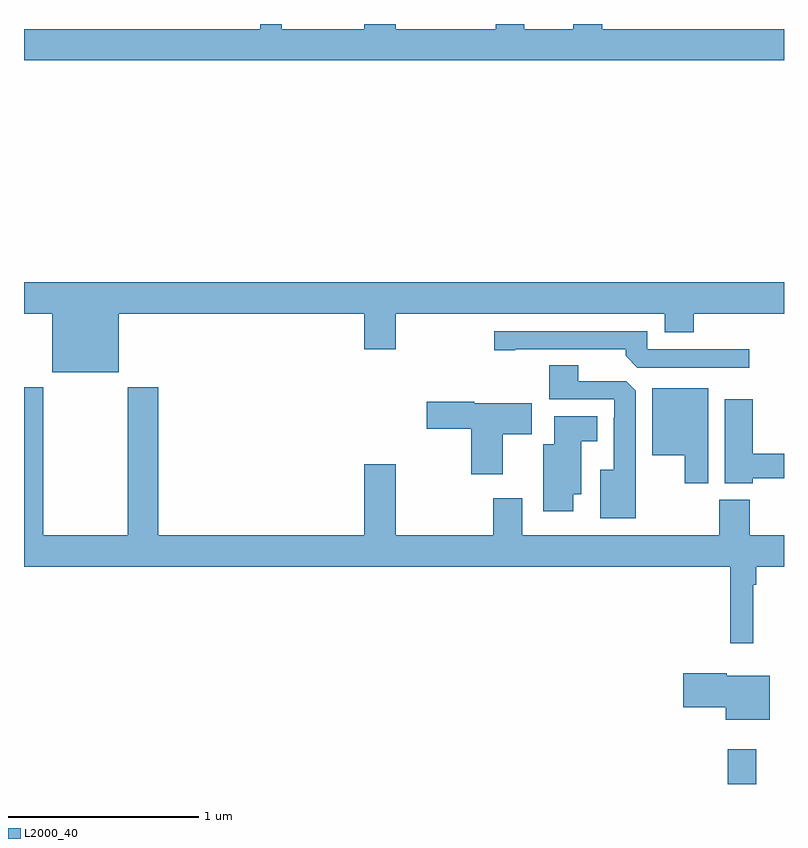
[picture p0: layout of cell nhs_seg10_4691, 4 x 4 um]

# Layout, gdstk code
import gdstk
lib = gdstk.Library(unit=1e-6, precision=1e-09)
def R(c, l, rs):  # rectangles x0, y0, x1, y1
    for r in rs: c.add(gdstk.rectangle(r[:2], r[2:], *l))
def P(c, l, *ps):  # polygons
    for p in ps: c.add(gdstk.Polygon(p, *l))
L2000_40 = (2000, 40)

nhs_seg10_4691 = lib.new_cell('nhs_seg10_4691')
R(nhs_seg10_4691, L2000_40, [(382.703,1304.5,382.855,1304.683)])
P(nhs_seg10_4691, L2000_40, [(383,1308.472),(382.043,1308.472),(382.043,1308.5),(381.89,1308.5),(381.89,1308.472),(381.634,1308.472),(381.634,1308.5),(381.482,1308.5),(381.482,1308.472),(380.956,1308.472),(380.956,1308.5),(380.792,1308.5),(380.792,1308.472),(380.357,1308.472),(380.357,1308.5),(380.243,1308.5),(380.243,1308.472),(379,1308.472),(379,1308.308),(383,1308.308)],
  [(379.498,1306.976),(380.792,1306.976),(380.792,1306.788),(380.956,1306.788),(380.956,1306.976),(382.373,1306.976),(382.373,1306.877),(382.526,1306.877),(382.526,1306.976),(383,1306.976),(383,1307.14),(379,1307.14),(379,1306.976),(379.148,1306.976),(379.148,1306.667),(379.498,1306.667)],
  [(382.816,1306.788),(382.281,1306.788),(382.281,1306.884),(381.474,1306.884),(381.474,1306.783),(381.586,1306.783),(381.586,1306.788),(382.166,1306.788),(382.166,1306.754),(382.227,1306.692),(382.816,1306.692)],
  [(382.219,1306.571),(382.17,1306.62),(381.916,1306.62),(381.916,1306.703),(381.764,1306.703),(381.764,1306.524),(382.107,1306.524),(382.107,1306.427),(382.103,1306.427),(382.103,1306.153),(382.034,1306.153),(382.034,1305.899),(382.219,1305.899)],
  [(382.6,1306.582),(382.307,1306.582),(382.307,1306.229),(382.478,1306.229),(382.478,1306.083),(382.6,1306.083)],
  [(382.835,1306.11),(383,1306.11),(383,1306.238),(382.835,1306.238),(382.835,1306.525),(382.688,1306.525),(382.688,1306.082),(382.835,1306.082)],
  [(381.52,1306.342),(381.673,1306.342),(381.673,1306.504),(381.369,1306.504),(381.369,1306.512),(381.12,1306.512),(381.12,1306.37),(381.353,1306.37),(381.353,1306.131),(381.52,1306.131)],
  [(381.892,1306.025),(381.934,1306.025),(381.934,1306.304),(382.018,1306.304),(382.018,1306.435),(381.791,1306.435),(381.791,1306.288),(381.734,1306.288),(381.734,1305.936),(381.892,1305.936)],
  [(382.82,1305.997),(382.66,1305.997),(382.66,1305.808),(381.622,1305.808),(381.622,1306.003),(381.47,1306.003),(381.47,1305.808),(380.956,1305.808),(380.956,1306.183),(380.792,1306.183),(380.792,1305.808),(379.706,1305.808),(379.706,1306.588),(379.546,1306.588),(379.546,1305.808),(379.101,1305.808),(379.101,1306.588),(379,1306.588),(379,1305.644),(382.717,1305.644),(382.717,1305.24),(382.838,1305.24),(382.838,1305.548),(382.853,1305.548),(382.853,1305.644),(383,1305.644),(383,1305.808),(382.82,1305.808)],
  [(382.924,1305.07),(382.698,1305.07),(382.698,1305.083),(382.47,1305.083),(382.47,1304.905),(382.694,1304.905),(382.694,1304.837),(382.924,1304.837)])

lib.write_gds('nhs_seg10_4691.gds')
